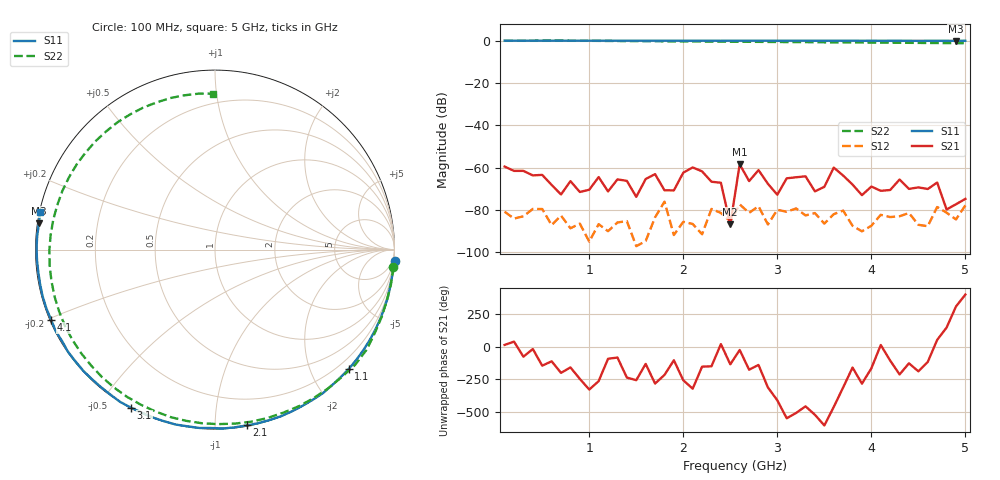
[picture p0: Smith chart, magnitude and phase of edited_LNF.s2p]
!Mode: Constant current
!Vd_set [V]: 1.6
!Id_set [A]: 0.04
!Vd [V]: 1.6
!Vg [V]: -0.135
!Id [A]: 0.039988
!Ig [A]: -1.4e-05
!bias: Vd=1.6V Id=40.0mA
!psx-card: 1
!psx-channel: 1
!VNA ID: Agilent Technologies,E8361A,US43140535,A.06.04.32
!IFBW [Hz]: 50.0
!Averaging: 1
!Power [dBm]: -50.0
!Power Slope [dB/GHz]: 0.0
!Reduce IF at low frequency: 1
!Sweep_index: 1
!DUT model number: LNF-LNC16_28WB
!DUT serial number: 149Z
!Station: RT1
!Setup: Room temperature S-parameter
!Method: rt-spar
!Measurement start: 2021-02-22 17:17:17
!Measurement end: 2021-02-22 17:17:35
!Measurement length [s]: 17.90469479560852
!Saved by LNF Software Version: 0.9.109
#HZ S DB R 50
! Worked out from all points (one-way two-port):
!   50 points, 100 MHz to 5 GHz, reference 50 ohm
!   highest |S21| = -58.41 dB at 2.6 GHz (marker M1); lowest = -86.8 dB at 2.5 GHz (marker M2)
!   lowest |S11| = -0.1 dB at 4.9 GHz (marker M3), VSWR 239.93, Z = 0.21 + j3.69 ohm
!   |S11| at or under -10 dB: nowhere
!   |S22| runs from -1.2 to 0.1 dB; largest |S21 - S12| = 0.0013
!   S11 on the Smith chart (normalised r, x): 100 MHz: -1, -31; 1.1 GHz: 0.00, -2.62; 2.1 GHz: 0.01, -1.20; 3.1 GHz: 0.00, -0.60; 4.1 GHz: 0.00, -0.21; 5 GHz: 0.00, +0.11
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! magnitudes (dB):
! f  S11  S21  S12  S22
! 100 MHz  0.0  -59.5  -80.8  0.0
! 700 MHz  0.0  -72.7  -82.6  0.1
! 1 GHz  0.0  -70.4  -94.9  -0.1
! 1.1 GHz  0.0  -64.5  -86.7  -0.1
! 1.5 GHz  0.0  -73.8  -97.1  -0.2
! 1.7 GHz  0.0  -63.0  -83.5  -0.3
! 1.8 GHz  0.0  -70.7  -76.1  -0.3
! 2.1 GHz  0.0  -59.9  -86.6  -0.4
! 2.4 GHz  0.0  -67.1  -81.4  -0.5
! 2.5 GHz  0.0  -86.8  -85.3  -0.5
! 2.6 GHz  0.0  -58.4  -77.3  -0.5
! 3 GHz  0.0  -72.8  -79.9  -0.6
! 3.1 GHz  0.0  -65.0  -80.8  -0.6
! 3.4 GHz  0.0  -71.2  -81.4  -0.7
! 3.6 GHz  0.0  -60.0  -82.0  -0.8
! 3.9 GHz  -0.1  -73.0  -90.1  -0.9
! 4.1 GHz  -0.1  -70.9  -82.3  -0.9
! 4.2 GHz  0.0  -70.6  -83.3  -1.0
! 4.7 GHz  -0.1  -67.0  -78.6  -1.1
! 4.8 GHz  -0.1  -79.8  -81.3  -1.1
! 4.9 GHz  -0.1  -77.3  -84.5  -1.2
! 5 GHz  0.0  -74.7  -77.8  -1.2
